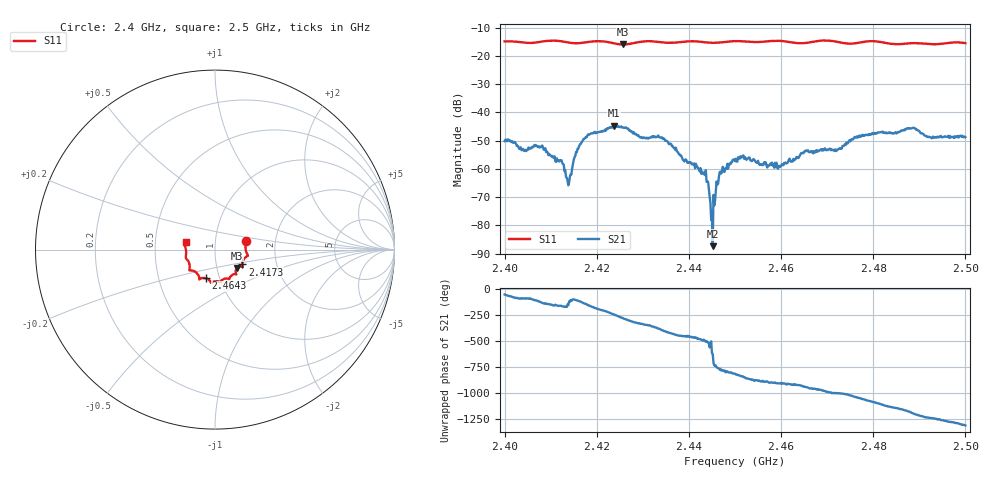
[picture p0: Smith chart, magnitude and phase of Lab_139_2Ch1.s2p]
# Hz S RI R 50
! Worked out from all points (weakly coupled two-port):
!   601 points, 2.4 GHz to 2.5 GHz, reference 50 ohm
!   highest |S21| = -44.67 dB at 2.4237 GHz (marker M1); lowest = -87.3 dB at 2.4452 GHz (marker M2)
!   lowest |S11| = -15.9 dB at 2.4257 GHz (marker M3), VSWR 1.38, Z = 62.4 - j13.1 ohm
!   |S11| at or under -10 dB: start of sweep to end of sweep
!   S12 and S22 are empty: the file has one direction only
!   S11 on the Smith chart (normalised r, x): 2.4 GHz: 1.41, +0.14; 2.4173 GHz: 1.34, -0.23; 2.4643 GHz: 0.86, -0.28; 2.5 GHz: 0.72, +0.06
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2.4e9  0.1737 0.0495  0.0019 -0.00247  0 0  0 0
2.404167e9  0.1711 0.0232  1.69e-05 -0.00211  0 0  0 0
2.408333e9  0.1796 -0.024  -0.00169 -0.00169  0 0  0 0
2.412333e9  0.1781 -0.0374  -0.00135 -0.000463  0 0  0 0
2.413833e9  0.1669 -0.0454  -0.000462 -0.000224  0 0  0 0
2.416667e9  0.1527 -0.075  -0.00162 -0.00244  0 0  0 0
2.417333e9  0.1522 -0.0825  -0.00255 -0.00228  0 0  0 0
2.423667e9  0.1392 -0.0936  -0.00264 0.00521  0 0  0 0
2.425667e9  0.1225 -0.1024  0.000742 0.00532  0 0  0 0
2.433333e9  0.1125 -0.1364  0.00371 -0.00123  0 0  0 0
2.443167e9  0.0688 -0.1617  -0.000473 -0.000658  0 0  0 0
2.443833e9  0.0644 -0.1609  -0.000452 -0.000384  0 0  0 0
2.445167e9  0.0538 -0.1622  -5.35e-06 4.27e-05  0 0  0 0
2.447e9  0.0399 -0.1692  0.000407 -0.000721  0 0  0 0
2.45e9  0.0295 -0.1808  -3.7e-05 -0.00137  0 0  0 0
2.459667e9  -0.0229 -0.1838  -0.00113 8.57e-05  0 0  0 0
2.464333e9  -0.0503 -0.1603  -0.00171 0.000829  0 0  0 0
2.466667e9  -0.0761 -0.1594  -0.00123 0.00154  0 0  0 0
2.483333e9  -0.1408 -0.0893  0.00303 -0.00319  0 0  0 0
2.488667e9  -0.162 -0.0478  -0.00203 -0.00494  0 0  0 0
2.492333e9  -0.1607 -0.0219  -0.00337 -0.00147  0 0  0 0
2.5e9  -0.1637 0.0417  -0.00244 0.00271  0 0  0 0
